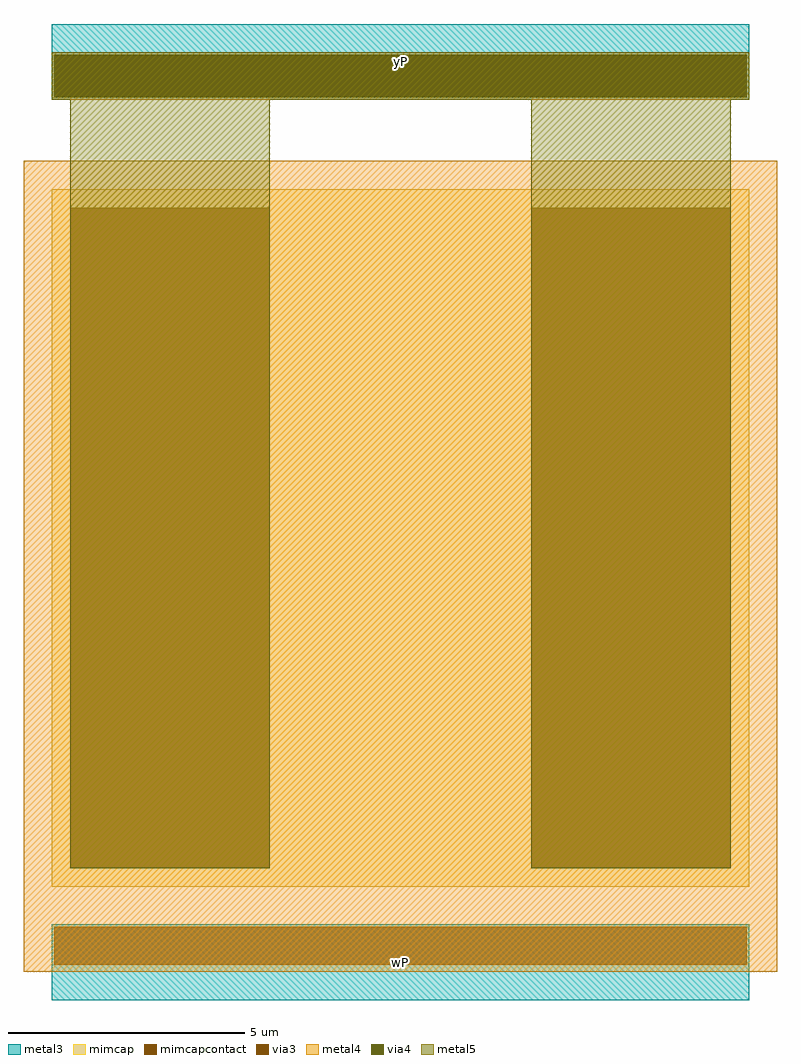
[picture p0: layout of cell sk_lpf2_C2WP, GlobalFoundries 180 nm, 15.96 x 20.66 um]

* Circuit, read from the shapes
.subckt sk_lpf2_C2WP yP wP
XC1 yP wP cap_mim_2f0fF c_width=14.76u c_length=14.76u
.ends

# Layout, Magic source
magic
tech gf180mcuD
magscale 1 10
<< metal3 >>
rect 0 -340 2952 -160
rect 0 3332 2952 3532
rect 0 3332 2952 3652
rect 0 3332 2952 3652
rect 0 -480 2952 -160
rect 0 -480 2952 -160
<< metal4 >>
rect -120 -360 3072 3072
rect 0 -340 2952 -160
rect 0 3332 2952 3532
rect 0 3332 2952 3532
<< mimcap >>
rect 0 0 2952 2952
<< metal5 >>
rect 78 78 922 3432
rect 2030 78 2874 3432
rect 0 3332 2952 3532
rect 0 3332 2952 3532
<< via3 >>
rect 10 -330 2942 -170
rect 10 3342 2942 3522
<< via4 >>
rect 10 3342 2942 3522
<< mimcapcontact >>
rect 78 78 922 2874
rect 2030 78 2874 2874
<< labels >>
flabel metal3 s 0 3332 2952 3652 0 FreeSans 80 0 0 0 yP
port 1 nsew signal bidirectional
flabel metal3 s 0 -480 2952 -160 0 FreeSans 80 0 0 0 wP
port 2 nsew signal bidirectional
<< end >>
